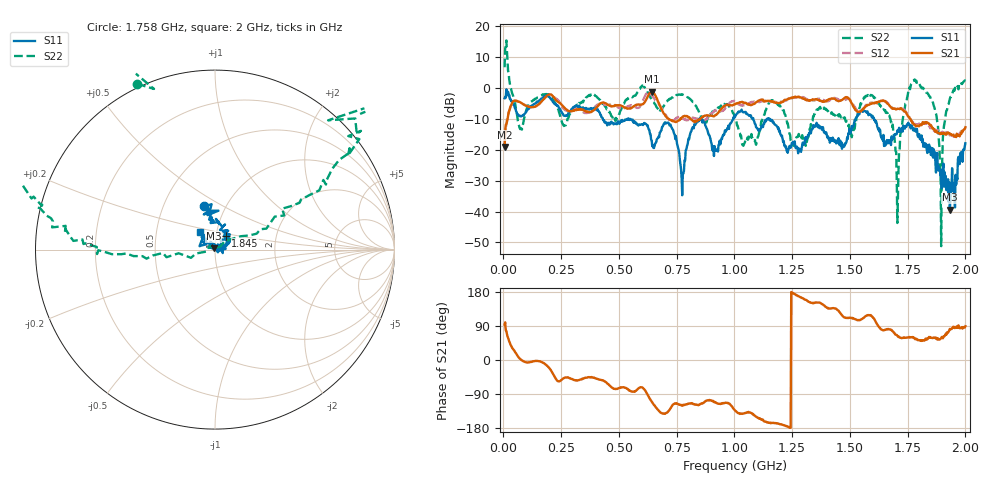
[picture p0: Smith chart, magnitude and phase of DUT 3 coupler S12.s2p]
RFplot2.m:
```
hs = sparameters('DUT 3 coupler S12.s2p');
rfplot(hs,2,1,'-red')
hold on

hs2 = sparameters('DUT 2 s41 coupler.s2p');
rfplot(hs2,2,1,'-blue')
hold on


hs3 = sparameters('DUT 4 coupler S13 isol.s2p');
rfplot(hs3,2,1,'-black')
hold on

legend('S12','S14','S13')
ylim([-53   0])
```
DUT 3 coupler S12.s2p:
! PocketVna 1.60  pocketvna.com
! Live measurements ((Reflection-S11, Transmission-S21, Transmission-S12, Reflection-S22) Linear 5000000-2000000000/800 calibrated)
# Hz S RI R 50
! Hz  ReS11  ImS11  ReS21  ImS21  ReS12  ImS12  ReS22  ImS22
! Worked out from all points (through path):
!   800 points, 5 MHz to 2 GHz, reference 50 ohm
!   highest |S21| = -1.17 dB at 641.7 MHz (marker M1); lowest = -19.1 dB at 5 MHz (marker M2)
!   group delay of S21, straight-line fit = 464 ps
!   lowest |S11| = -39.4 dB at 1.933 GHz (marker M3), VSWR 1.02, Z = 49.2 + j0.758 ohm
!   |S11| at or under -10 dB: 549.5 MHz to 850.3 MHz (300.8 MHz wide, 43 % of centre); 1.152 GHz to 1.525 GHz (373.1 MHz wide, 27.9 % of centre); 1.604 GHz to end of sweep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
!   |S22| runs from -51.2 to 15.4 dB; largest |S21 - S12| = 0.16
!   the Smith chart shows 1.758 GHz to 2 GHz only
!   S11 on the Smith chart (normalised r, x): 1.758 GHz: 0.79, +0.41; 1.845 GHz: 1.11, +0.17; 2 GHz: 0.83, +0.17
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5000000  0.6607 -0.1837  -0.00628 0.1111  0.0549 0.1009  2.174 -0.0246
2.747184e7  -0.14 -0.6568  0.3163 0.3262  0.3124 0.3367  -0.3329 -1.144
1.048748e8  -0.3809 0.2295  0.4996 -0.0569  0.508 -0.0596  -0.3753 0.3435
6.417021e8  0.0765 0.1208  -0.2977 -0.8215  -0.2217 -0.7377  0.1498 0.6352
1.003748e9  0.2547 0.2387  -0.388 -0.4027  -0.3502 -0.491  0.2269 -0.2238
1.705369e9  -0.0928 0.1848  0.202 0.4125  0.1993 0.4184  -0.00586 -0.00291
1.757804e9  -0.0617 0.2406  0.16 0.2863  0.1629 0.2988  -0.4344 0.9239
1.845194e9  0.0599 0.076  0.131 0.2188  0.1215 0.21  -0.733 0.0311
1.892635e9  0.0381 0.00167  0.1044 0.1573  0.104 0.1631  -0.0297 0.0216
1.932584e9  -0.00752 0.0077  0.0258 0.1833  0.0239 0.1694  0.5817 0.3308
2e9  -0.0821 0.098  0.00369 0.2323  0.00896 0.2296  0.8753 0.9698
